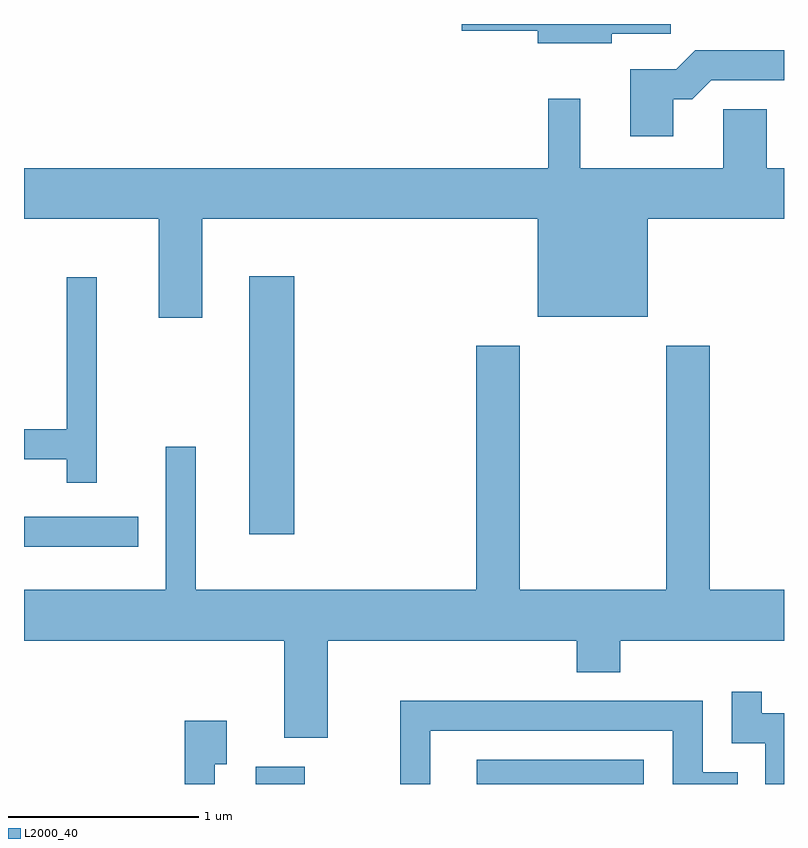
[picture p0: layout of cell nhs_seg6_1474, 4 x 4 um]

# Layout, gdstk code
import gdstk
lib = gdstk.Library(unit=1e-6, precision=1e-09)
def R(c, l, rs):  # rectangles x0, y0, x1, y1
    for r in rs: c.add(gdstk.rectangle(r[:2], r[2:], *l))
def P(c, l, *ps):  # polygons
    for p in ps: c.add(gdstk.Polygon(p, *l))
L2000_40 = (2000, 40)

nhs_seg6_1474 = lib.new_cell('nhs_seg6_1474')
R(nhs_seg6_1474, L2000_40, [(230.831,1558.162,231.089,1558.254), (231.993,1558.162,232.874,1558.289), (229.611,1559.411,230.213,1559.569), (230.796,1559.476,231.034,1560.834)])
P(nhs_seg6_1474, L2000_40, [(232.704,1562.111),(233.014,1562.111),(233.014,1562.162),(231.916,1562.162),(231.916,1562.126),(232.316,1562.126),(232.316,1562.061),(232.704,1562.061)],
  [(233.029,1561.766),(233.127,1561.766),(233.227,1561.866),(233.611,1561.866),(233.611,1562.024),(233.144,1562.024),(233.044,1561.924),(232.801,1561.924),(232.801,1561.571),(233.029,1561.571)],
  [(230.549,1561.136),(232.316,1561.136),(232.316,1560.621),(232.894,1560.621),(232.894,1561.136),(233.611,1561.136),(233.611,1561.404),(233.519,1561.404),(233.519,1561.714),(233.291,1561.714),(233.291,1561.404),(232.539,1561.404),(232.539,1561.768),(232.371,1561.768),(232.371,1561.404),(229.611,1561.404),(229.611,1561.136),(230.321,1561.136),(230.321,1560.616),(230.549,1560.616)],
  [(229.994,1560.828),(229.836,1560.828),(229.836,1560.029),(229.611,1560.029),(229.611,1559.871),(229.836,1559.871),(229.836,1559.748),(229.994,1559.748)],
  [(231.209,1558.916),(232.521,1558.916),(232.521,1558.751),(232.749,1558.751),(232.749,1558.916),(233.611,1558.916),(233.611,1559.184),(233.219,1559.184),(233.219,1560.469),(232.991,1560.469),(232.991,1559.184),(232.219,1559.184),(232.219,1560.469),(231.991,1560.469),(231.991,1559.184),(230.514,1559.184),(230.514,1559.938),(230.356,1559.938),(230.356,1559.184),(229.611,1559.184),(229.611,1558.916),(230.981,1558.916),(230.981,1558.406),(231.209,1558.406)],
  [(233.611,1558.534),(233.494,1558.534),(233.494,1558.648),(233.336,1558.648),(233.336,1558.376),(233.511,1558.376),(233.511,1558.162),(233.611,1558.162)],
  [(231.749,1558.441),(233.026,1558.441),(233.026,1558.162),(233.368,1558.162),(233.368,1558.224),(233.184,1558.224),(233.184,1558.599),(231.591,1558.599),(231.591,1558.162),(231.749,1558.162)],
  [(230.614,1558.266),(230.679,1558.266),(230.679,1558.494),(230.456,1558.494),(230.456,1558.162),(230.614,1558.162)])

lib.write_gds('nhs_seg6_1474.gds')
